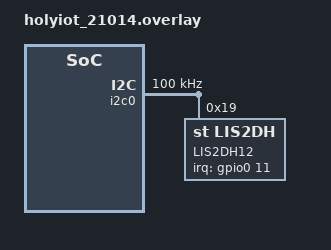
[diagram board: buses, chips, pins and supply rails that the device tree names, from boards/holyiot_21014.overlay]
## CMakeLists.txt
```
# SPDX-License-Identifier: Apache-2.0

cmake_minimum_required(VERSION 3.20.0)

find_package(Zephyr REQUIRED HINTS $ENV{ZEPHYR_BASE})
project(hopla_firmware)

target_sources(app PRIVATE
  src/main.c
  src/ble_service.c
  src/accel_sensor.c
  src/config_manager.c
  src/power_mgmt.c
)
```

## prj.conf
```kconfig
# SPDX-License-Identifier: Apache-2.0

# BLE Configuration
CONFIG_BT=y
CONFIG_BT_PERIPHERAL=y
CONFIG_BT_DEVICE_NAME="Hopla"
CONFIG_BT_DEVICE_APPEARANCE=833
CONFIG_BT_MAX_CONN=1
CONFIG_BT_MAX_PAIRED=1
CONFIG_BT_DIS=y
CONFIG_BT_DIS_MANUFACTURER="Hopla"
CONFIG_BT_DIS_MODEL="HolyIOT-21014"

# BLE GATT
CONFIG_BT_GATT_SERVICE_CHANGED=y
CONFIG_BT_GATT_CACHING=y
CONFIG_BT_GATT_ENFORCE_SUBSCRIPTION=n

# Sensor Configuration
CONFIG_I2C=y
CONFIG_SENSOR=y
CONFIG_LIS2DH=y
CONFIG_LIS2DH_TRIGGER_GLOBAL_THREAD=y
CONFIG_LIS2DH_ODR_RUNTIME=y
CONFIG_LIS2DH_FS_RUNTIME=y

# Power Management
CONFIG_PM=y
CONFIG_PM_DEVICE=y
CONFIG_PM_DEVICE_RUNTIME=y

# Logging
CONFIG_LOG=y
CONFIG_LOG_MODE_IMMEDIATE=y
CONFIG_BT_DEBUG_LOG=y

# Threading
CONFIG_MAIN_STACK_SIZE=2048
CONFIG_SYSTEM_WORKQUEUE_STACK_SIZE=2048

# DFU Support (compatible with existing bootloader)
CONFIG_BOOTLOADER_MCUBOOT=n
CONFIG_IMG_MANAGER=n
CONFIG_MCUBOOT_IMG_MANAGER=n

# Enable BLE advertising
CONFIG_BT_BROADCASTER=y
```

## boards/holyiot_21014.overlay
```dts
/*
 * Copyright (c) 2024
 * SPDX-License-Identifier: Apache-2.0
 *
 * Device tree overlay for HolyIOT-21014 (nRF52810 + LIS2DH12)
 */

&i2c0 {
	status = "okay";
	clock-frequency = <I2C_BITRATE_STANDARD>;
	
	lis2dh12: lis2dh12@19 {
		compatible = "st,lis2dh";
		reg = <0x19>;
		label = "LIS2DH12";
		irq-gpios = <&gpio0 11 GPIO_ACTIVE_HIGH>;
	};
};

&gpio0 {
	status = "okay";
};
```

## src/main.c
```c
/*
 * Copyright (c) 2024
 * SPDX-License-Identifier: Apache-2.0
 *
 * Main application entry point
 */

#include <zephyr/kernel.h>
#include <zephyr/logging/log.h>
#include "ble_service.h"
#include "accel_sensor.h"
#include "config_manager.h"
#include "power_mgmt.h"

LOG_MODULE_REGISTER(main, LOG_LEVEL_INF);

/* Sensor data processing thread */
#define SENSOR_STACK_SIZE 1024
#define SENSOR_PRIORITY 5

static K_THREAD_STACK_DEFINE(sensor_stack, SENSOR_STACK_SIZE);
static struct k_thread sensor_thread_data;

/* Motion detection trigger handler */
static void motion_trigger_handler(const struct device *dev,
				   const struct sensor_trigger *trig)
{
	LOG_INF("Motion detected!");
	power_mgmt_set_state(POWER_STATE_ACTIVE);
}

/* Sensor processing thread */
static void sensor_thread(void *arg1, void *arg2, void *arg3)
{
	struct accel_data data;
	uint32_t period_ms;
	int err;

	ARG_UNUSED(arg1);
	ARG_UNUSED(arg2);
	ARG_UNUSED(arg3);

	while (1) {
		/* Get current configuration */
		struct fm_config config;
		config_manager_get(&config);

		/* Calculate period based on notify rate */
		period_ms = 1000 / config.notify_rate_hz;
		if (period_ms < 10) {
			period_ms = 10; /* Minimum 10ms */
		}

		/* Read sensor */
		err = accel_sensor_read(&data);
		if (err) {
			LOG_ERR("Failed to read sensor (err %d)", err);
			k_sleep(K_MSEC(period_ms));
			continue;
		}

		/* Process based on stream mode */
		uint8_t stream_mode = ble_service_get_stream_mode();

		if (stream_mode == STREAM_MODE_RAW || stream_mode == STREAM_MODE_FILTERED) {
			/* TODO: Apply filtering for FILTERED mode */
			ble_service_notify_xyz(&data);
		} else if (stream_mode == STREAM_MODE_EVENTS) {
			/* TODO: Detect events (tilt, jump, etc.) */
			/* For now, send raw data */
			ble_service_notify_xyz(&data);
		}

		/* Update power state based on activity */
		enum power_state state = power_mgmt_get_state();
		if (state == POWER_STATE_CONNECTED_IDLE) {
			/* Check if motion detected */
			int16_t magnitude = (data.x * data.x + data.y * data.y + data.z * data.z) / 1000;
			if (magnitude > 100) { /* Threshold */
				power_mgmt_set_state(POWER_STATE_CONNECTED_ACTIVE);
				power_mgmt_schedule_active_timeout(config.active_timeout_ms);
			}
		}

		k_sleep(K_MSEC(period_ms));
	}
}

/* Main function */
int main(void)
{
	int err;

	LOG_INF("Hopla Firmware Starting...");

	/* Initialize components */
	err = accel_sensor_init();
	if (err) {
		LOG_ERR("Failed to initialize accelerometer (err %d)", err);
		return err;
	}

	err = config_manager_init();
	if (err) {
		LOG_ERR("Failed to initialize config manager (err %d)", err);
		return err;
	}

	err = power_mgmt_init();
	if (err) {
		LOG_ERR("Failed to initialize power management (err %d)", err);
		return err;
	}

	err = ble_service_init();
	if (err) {
		LOG_ERR("Failed to initialize BLE service (err %d)", err);
		return err;
	}

	/* Set up motion trigger */
	const struct sensor_trigger *trigger;
	err = accel_sensor_get_trigger(&trigger);
	if (!err) {
		err = accel_sensor_set_trigger_handler(motion_trigger_handler);
		if (err) {
			LOG_WRN("Failed to set motion trigger handler (err %d)", err);
		}
	}

	/* Start advertising */
	struct fm_config config;
	config_manager_get(&config);
	err = ble_service_start_advertising(config.adv_interval_idle);
	if (err) {
		LOG_ERR("Failed to start advertising (err %d)", err);
		return err;
	}

	/* Start sensor processing thread */
	k_thread_create(&sensor_thread_data, sensor_stack,
			K_THREAD_STACK_SIZEOF(sensor_stack),
			sensor_thread, NULL, NULL, NULL,
			SENSOR_PRIORITY, 0, K_NO_WAIT);
	k_thread_name_set(&sensor_thread_data, "sensor");

	LOG_INF("Hopla Firmware Ready");

	return 0;
}
```

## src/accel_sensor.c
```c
/*
 * Copyright (c) 2024
 * SPDX-License-Identifier: Apache-2.0
 *
 * Accelerometer sensor wrapper for LIS2DH12
 */

#include "accel_sensor.h"
#include <zephyr/logging/log.h>
#include <zephyr/drivers/sensor.h>
#include <zephyr/drivers/gpio.h>
#include <zephyr/devicetree.h>

LOG_MODULE_REGISTER(accel_sensor, LOG_LEVEL_DBG);

/* Device tree label */
#define LIS2DH_NODE DT_NODELABEL(lis2dh12)

/* Check if device is available */
#if !DT_NODE_EXISTS(LIS2DH_NODE)
#error "LIS2DH12 node not found in device tree"
#endif

static const struct device *accel_dev = DEVICE_DT_GET(LIS2DH_NODE);
static struct sensor_trigger motion_trigger;
static bool trigger_initialized = false;

/* ODR mapping */
static const uint16_t odr_map[] = {1, 10, 25, 50, 100, 200, 400, 1600};

/* Initialize accelerometer */
int accel_sensor_init(void)
{
	if (!device_is_ready(accel_dev)) {
		LOG_ERR("Accelerometer device not ready");
		return -ENODEV;
	}

	LOG_INF("Accelerometer initialized");
	return 0;
}

/* Read accelerometer data */
int accel_sensor_read(struct accel_data *data)
{
	struct sensor_value accel[3];
	int err;

	if (!data) {
		return -EINVAL;
	}

	err = sensor_sample_fetch(accel_dev);
	if (err) {
		LOG_ERR("Failed to fetch sample (err %d)", err);
		return err;
	}

	err = sensor_channel_get(accel_dev, SENSOR_CHAN_ACCEL_XYZ, accel);
	if (err) {
		LOG_ERR("Failed to get channel (err %d)", err);
		return err;
	}

	/* Convert to int16_t (milli-G units) */
	data->x = (int16_t)(sensor_value_to_milli(&accel[0]) / 1000);
	data->y = (int16_t)(sensor_value_to_milli(&accel[1]) / 1000);
	data->z = (int16_t)(sensor_value_to_milli(&accel[2]) / 1000);

	return 0;
}

/* Set accelerometer range */
int accel_sensor_set_range(enum accel_range range)
{
	struct sensor_value val;
	int err;

	if (range > ACCEL_RANGE_16G) {
		return -EINVAL;
	}

	val.val1 = range;
	val.val2 = 0;

	err = sensor_attr_set(accel_dev, SENSOR_CHAN_ACCEL_XYZ,
			      SENSOR_ATTR_FULL_SCALE, &val);
	if (err) {
		LOG_ERR("Failed to set range (err %d)", err);
		return err;
	}

	LOG_INF("Accelerometer range set to %d", range);
	return 0;
}

/* Set output data rate */
int accel_sensor_set_odr(uint16_t rate_hz)
{
	struct sensor_value val;
	int err;
	uint16_t odr = 0;

	/* Find closest ODR */
	for (int i = 0; i < ARRAY_SIZE(odr_map); i++) {
		if (odr_map[i] >= rate_hz) {
			odr = odr_map[i];
			break;
		}
	}

	if (odr == 0) {
		odr = odr_map[ARRAY_SIZE(odr_map) - 1];
	}

	val.val1 = odr;
	val.val2 = 0;

	err = sensor_attr_set(accel_dev, SENSOR_CHAN_ACCEL_XYZ,
			      SENSOR_ATTR_SAMPLING_FREQUENCY, &val);
	if (err) {
		LOG_ERR("Failed to set ODR (err %d)", err);
		return err;
	}

	LOG_INF("Accelerometer ODR set to %d Hz", odr);
	return 0;
}

/* Set motion threshold */
int accel_sensor_set_motion_threshold(uint8_t threshold)
{
	struct sensor_value val;
	int err;

	/* Convert threshold to sensor value (in milli-G) */
	val.val1 = threshold * 16; /* Scale factor */
	val.val2 = 0;

	err = sensor_attr_set(accel_dev, SENSOR_CHAN_ACCEL_XYZ,
			      SENSOR_ATTR_SLOPE_TH, &val);
	if (err) {
		LOG_ERR("Failed to set motion threshold (err %d)", err);
		return err;
	}

	LOG_INF("Motion threshold set to %d", threshold);
	return 0;
}

/* Enable/disable wake-on-motion */
int accel_sensor_enable_wake_on_motion(bool enable)
{
	int err;

	if (!trigger_initialized) {
		/* Initialize trigger */
		motion_trigger.type = SENSOR_TRIG_DELTA;
		motion_trigger.chan = SENSOR_CHAN_ACCEL_XYZ;
		trigger_initialized = true;
	}

	if (enable) {
		err = sensor_trigger_set(accel_dev, &motion_trigger,
					NULL); /* Handler set elsewhere */
	} else {
		err = sensor_trigger_set(accel_dev, &motion_trigger, NULL);
	}

	if (err) {
		LOG_ERR("Failed to %s wake-on-motion (err %d)",
			enable ? "enable" : "disable", err);
		return err;
	}

	LOG_INF("Wake-on-motion %s", enable ? "enabled" : "disabled");
	return 0;
}

/* Get trigger */
int accel_sensor_get_trigger(const struct sensor_trigger **trigger)
{
	if (!trigger) {
		return -EINVAL;
	}

	if (!trigger_initialized) {
		return -ENODATA;
	}

	*trigger = &motion_trigger;
	return 0;
}

/* Set trigger handler */
int accel_sensor_set_trigger_handler(sensor_trigger_handler_t handler)
{
	if (!trigger_initialized) {
		motion_trigger.type = SENSOR_TRIG_DELTA;
		motion_trigger.chan = SENSOR_CHAN_ACCEL_XYZ;
		trigger_initialized = true;
	}

	return sensor_trigger_set(accel_dev, &motion_trigger, handler);
}
```

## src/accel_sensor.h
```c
/*
 * Copyright (c) 2024
 * SPDX-License-Identifier: Apache-2.0
 *
 * Accelerometer sensor wrapper for LIS2DH12
 */

#ifndef ACCEL_SENSOR_H
#define ACCEL_SENSOR_H

#include <zephyr/types.h>
#include <zephyr/drivers/sensor.h>

/* Accelerometer data structure */
struct accel_data {
	int16_t x;
	int16_t y;
	int16_t z;
};

/* Accelerometer range */
enum accel_range {
	ACCEL_RANGE_2G = 0,
	ACCEL_RANGE_4G = 1,
	ACCEL_RANGE_8G = 2,
	ACCEL_RANGE_16G = 3,
};

/* Function prototypes */
int accel_sensor_init(void);
int accel_sensor_read(struct accel_data *data);
int accel_sensor_set_range(enum accel_range range);
int accel_sensor_set_odr(uint16_t rate_hz);
int accel_sensor_set_motion_threshold(uint8_t threshold);
int accel_sensor_enable_wake_on_motion(bool enable);
int accel_sensor_get_trigger(const struct sensor_trigger **trigger);
int accel_sensor_set_trigger_handler(sensor_trigger_handler_t handler);

#endif /* ACCEL_SENSOR_H */
```

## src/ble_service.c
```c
/*
 * Copyright (c) 2024
 * SPDX-License-Identifier: Apache-2.0
 *
 * BLE GATT Service FM_ACCEL implementation
 */

#include "ble_service.h"
#include "config_manager.h"
#include <zephyr/logging/log.h>
#include <zephyr/sys/byteorder.h>
#include <string.h>

LOG_MODULE_REGISTER(ble_service, LOG_LEVEL_DBG);

/* UUID definitions */
static struct bt_uuid_128 fm_accel_service_uuid = BT_UUID_INIT_128(
	BT_UUID_FM_ACCEL_SERVICE_VAL);

static struct bt_uuid_128 fm_accel_xyz_uuid = BT_UUID_INIT_128(
	BT_UUID_FM_ACCEL_XYZ_VAL);

static struct bt_uuid_128 fm_accel_config_uuid = BT_UUID_INIT_128(
	BT_UUID_FM_ACCEL_CONFIG_VAL);

static struct bt_uuid_128 fm_accel_stream_mode_uuid = BT_UUID_INIT_128(
	BT_UUID_FM_ACCEL_STREAM_MODE_VAL);

static struct bt_uuid_128 fm_accel_device_info_uuid = BT_UUID_INIT_128(
	BT_UUID_FM_ACCEL_DEVICE_INFO_VAL);

/* Characteristic handles */
static struct bt_gatt_attr *xyz_char_attr;
static struct bt_conn *current_conn;

/* Configuration storage */
static struct fm_config current_config = {
	.notify_rate_hz = 50,
	.active_timeout_ms = 5000,
	.accel_range = 0, /* ACCEL_RANGE_2G */
	.motion_threshold = 50,
	.adv_interval_idle = 1000,
	.adv_interval_active = 100,
	.stream_mode = STREAM_MODE_FILTERED,
	.reserved = 0,
};

static uint8_t stream_mode = STREAM_MODE_FILTERED;

/* Device info */
static const char device_info[] = "Hopla v1.0\nHolyIOT-21014\nnRF52810";

/* XYZ notification callback */
static ssize_t read_xyz(struct bt_conn *conn, const struct bt_gatt_attr *attr,
			void *buf, uint16_t len, uint16_t offset)
{
	/* Read not supported, use notifications */
	return BT_GATT_ERR(BT_ATT_ERR_READ_NOT_PERMITTED);
}

/* Config read callback */
static ssize_t read_config(struct bt_conn *conn, const struct bt_gatt_attr *attr,
			   void *buf, uint16_t len, uint16_t offset)
{
	return bt_gatt_attr_read(conn, attr, buf, len, offset,
				 &current_config, sizeof(current_config));
}

/* Config write callback */
static ssize_t write_config(struct bt_conn *conn, const struct bt_gatt_attr *attr,
			    const void *buf, uint16_t len, uint16_t offset,
			    uint8_t flags)
{
	if (offset + len > sizeof(current_config)) {
		return BT_GATT_ERR(BT_ATT_ERR_INVALID_OFFSET);
	}

	memcpy((uint8_t *)&current_config + offset, buf, len);

	if (offset + len == sizeof(current_config)) {
		LOG_INF("Config updated: rate=%d Hz, range=%d, mode=%d",
			current_config.notify_rate_hz,
			current_config.accel_range,
			current_config.stream_mode);
		/* Notify config manager to apply changes */
		config_manager_set(&current_config);
		config_manager_apply();
	}

	return len;
}

/* Stream mode read callback */
static ssize_t read_stream_mode(struct bt_conn *conn,
				const struct bt_gatt_attr *attr,
				void *buf, uint16_t len, uint16_t offset)
{
	return bt_gatt_attr_read(conn, attr, buf, len, offset,
				 &stream_mode, sizeof(stream_mode));
}

/* Stream mode write callback */
static ssize_t write_stream_mode(struct bt_conn *conn,
				 const struct bt_gatt_attr *attr,
				 const void *buf, uint16_t len, uint16_t offset,
				 uint8_t flags)
{
	if (offset + len > sizeof(stream_mode)) {
		return BT_GATT_ERR(BT_ATT_ERR_INVALID_OFFSET);
	}

	memcpy((uint8_t *)&stream_mode + offset, buf, len);

	if (offset + len == sizeof(stream_mode)) {
		LOG_INF("Stream mode updated: %d", stream_mode);
	}

	return len;
}

/* Device info read callback */
static ssize_t read_device_info(struct bt_conn *conn,
				const struct bt_gatt_attr *attr,
				void *buf, uint16_t len, uint16_t offset)
{
	return bt_gatt_attr_read(conn, attr, buf, len, offset,
				 device_info, strlen(device_info));
}

/* CCC changed callback */
static void xyz_ccc_cfg_changed(const struct bt_gatt_attr *attr, uint16_t value)
{
	bool notify_enabled = (value == BT_GATT_CCC_NOTIFY);

	LOG_INF("XYZ notifications %s", notify_enabled ? "enabled" : "disabled");
}

/* GATT service definition */
BT_GATT_SERVICE_DEFINE(fm_accel_service,
	BT_GATT_PRIMARY_SERVICE(&fm_accel_service_uuid),

	/* XYZ Data Characteristic (notify) */
	BT_GATT_CHARACTERISTIC(&fm_accel_xyz_uuid.uuid,
			       BT_GATT_CHRC_NOTIFY,
			       BT_GATT_PERM_NONE,
			       read_xyz, NULL, NULL),
	BT_GATT_CCC(xyz_ccc_cfg_changed,
		    BT_GATT_PERM_READ | BT_GATT_PERM_WRITE),

	/* Config Characteristic (read/write) */
	BT_GATT_CHARACTERISTIC(&fm_accel_config_uuid.uuid,
			       BT_GATT_CHRC_READ | BT_GATT_CHRC_WRITE,
			       BT_GATT_PERM_READ | BT_GATT_PERM_WRITE,
			       read_config, write_config, NULL),

	/* Stream Mode Characteristic (read/write) */
	BT_GATT_CHARACTERISTIC(&fm_accel_stream_mode_uuid.uuid,
			       BT_GATT_CHRC_READ | BT_GATT_CHRC_WRITE,
			       BT_GATT_PERM_READ | BT_GATT_PERM_WRITE,
			       read_stream_mode, write_stream_mode, NULL),

	/* Device Info Characteristic (read) */
	BT_GATT_CHARACTERISTIC(&fm_accel_device_info_uuid.uuid,
			       BT_GATT_CHRC_READ,
			       BT_GATT_PERM_READ,
			       read_device_info, NULL, NULL),
);

/* Connection callback */
static void connected(struct bt_conn *conn, uint8_t err)
{
	if (err) {
		LOG_ERR("Connection failed (err 0x%02x)", err);
		return;
	}

	LOG_INF("Connected");
	current_conn = bt_conn_ref(conn);
	power_mgmt_set_state(POWER_STATE_CONNECTED_IDLE);
}

static void disconnected(struct bt_conn *conn, uint8_t reason)
{
	LOG_INF("Disconnected (reason 0x%02x)", reason);

	if (current_conn) {
		bt_conn_unref(current_conn);
		current_conn = NULL;
	}

	power_mgmt_set_state(POWER_STATE_IDLE);
}

BT_CONN_CB_DEFINE(conn_callbacks) = {
	.connected = connected,
	.disconnected = disconnected,
};

/* Initialize BLE service */
int ble_service_init(void)
{
	int err;

	err = bt_enable(NULL);
	if (err) {
		LOG_ERR("Bluetooth init failed (err %d)", err);
		return err;
	}

	LOG_INF("Bluetooth initialized");
	return 0;
}

/* Start advertising */
int ble_service_start_advertising(uint16_t interval_ms)
{
	int err;
	struct bt_le_adv_param adv_param = {
		.id = BT_ID_DEFAULT,
		.sid = 0,
		.secondary_max_skip = 0,
		.options = BT_LE_ADV_OPT_CONNECTABLE | BT_LE_ADV_OPT_USE_NAME,
		.interval_min = BT_GAP_ADV_FAST_INT_MIN_2,
		.interval_max = BT_GAP_ADV_FAST_INT_MAX_2,
	};

	/* Convert ms to 0.625ms units */
	adv_param.interval_min = BT_GAP_ADV_INTERVAL_MIN(interval_ms);
	adv_param.interval_max = BT_GAP_ADV_INTERVAL_MAX(interval_ms);

	err = bt_le_adv_start(&adv_param, NULL, 0, NULL, 0);
	if (err) {
		LOG_ERR("Advertising failed to start (err %d)", err);
		return err;
	}

	LOG_INF("Advertising started (interval %d ms)", interval_ms);
	return 0;
}

/* Stop advertising */
int ble_service_stop_advertising(void)
{
	return bt_le_adv_stop();
}

/* Notify XYZ data */
int ble_service_notify_xyz(const struct accel_data *data)
{
	if (!current_conn) {
		return -ENOTCONN;
	}

	struct accel_data data_le = {
		.x = sys_cpu_to_le16(data->x),
		.y = sys_cpu_to_le16(data->y),
		.z = sys_cpu_to_le16(data->z),
	};

	return bt_gatt_notify(current_conn,
			      &fm_accel_service.attrs[1],
			      &data_le, sizeof(data_le));
}

/* Get configuration */
int ble_service_get_config(struct fm_config *config)
{
	if (!config) {
		return -EINVAL;
	}

	memcpy(config, &current_config, sizeof(current_config));
	return 0;
}

/* Set configuration */
int ble_service_set_config(const struct fm_config *config)
{
	if (!config) {
		return -EINVAL;
	}

	memcpy(&current_config, config, sizeof(current_config));
	return 0;
}

/* Get stream mode */
uint8_t ble_service_get_stream_mode(void)
{
	return stream_mode;
}

/* Set stream mode */
int ble_service_set_stream_mode(uint8_t mode)
{
	if (mode > STREAM_MODE_EVENTS) {
		return -EINVAL;
	}

	stream_mode = mode;
	return 0;
}
```

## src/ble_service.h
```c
/*
 * Copyright (c) 2024
 * SPDX-License-Identifier: Apache-2.0
 *
 * BLE GATT Service FM_ACCEL definitions
 */

#ifndef BLE_SERVICE_H
#define BLE_SERVICE_H

#include <zephyr/types.h>
#include <zephyr/bluetooth/bluetooth.h>
#include <zephyr/bluetooth/gatt.h>
#include <zephyr/bluetooth/uuid.h>

/* FM_ACCEL Service UUID */
#define BT_UUID_FM_ACCEL_SERVICE_VAL \
	BT_UUID_128_ENCODE(0xFACC0001, 0x0000, 0x1000, 0x8000, 0x00805f9b34fb)

/* Characteristic UUIDs */
#define BT_UUID_FM_ACCEL_XYZ_VAL \
	BT_UUID_128_ENCODE(0xFAC10001, 0x0000, 0x1000, 0x8000, 0x00805f9b34fb)

#define BT_UUID_FM_ACCEL_CONFIG_VAL \
	BT_UUID_128_ENCODE(0xFAC20001, 0x0000, 0x1000, 0x8000, 0x00805f9b34fb)

#define BT_UUID_FM_ACCEL_STREAM_MODE_VAL \
	BT_UUID_128_ENCODE(0xFAC30001, 0x0000, 0x1000, 0x8000, 0x00805f9b34fb)

#define BT_UUID_FM_ACCEL_DEVICE_INFO_VAL \
	BT_UUID_128_ENCODE(0xFAC40001, 0x0000, 0x1000, 0x8000, 0x00805f9b34fb)

/* UUID declarations */
extern struct bt_uuid_128 fm_accel_service_uuid;
extern struct bt_uuid_128 fm_accel_xyz_uuid;
extern struct bt_uuid_128 fm_accel_config_uuid;
extern struct bt_uuid_128 fm_accel_stream_mode_uuid;
extern struct bt_uuid_128 fm_accel_device_info_uuid;

/* Configuration structure (12 bytes) */
struct fm_config {
	uint16_t notify_rate_hz;      /* 1-100 Hz */
	uint16_t active_timeout_ms;   /* Timeout to idle state */
	uint8_t  accel_range;         /* 0=2G, 1=4G, 2=8G, 3=16G */
	uint8_t  motion_threshold;    /* 0-255 for wake-on-motion */
	uint16_t adv_interval_idle;   /* ms (1000-2000) */
	uint16_t adv_interval_active; /* ms (20-100) */
	uint8_t  stream_mode;         /* 0=RAW, 1=FILTERED, 2=EVENTS */
	uint8_t  reserved;
} __packed;

/* Stream modes */
#define STREAM_MODE_RAW      0
#define STREAM_MODE_FILTERED 1
#define STREAM_MODE_EVENTS   2

/* Accelerometer data structure */
struct accel_data {
	int16_t x;
	int16_t y;
	int16_t z;
} __packed;

/* Function prototypes */
int ble_service_init(void);
int ble_service_start_advertising(uint16_t interval_ms);
int ble_service_stop_advertising(void);
int ble_service_notify_xyz(const struct accel_data *data);
int ble_service_get_config(struct fm_config *config);
int ble_service_set_config(const struct fm_config *config);
uint8_t ble_service_get_stream_mode(void);
int ble_service_set_stream_mode(uint8_t mode);

#endif /* BLE_SERVICE_H */
```

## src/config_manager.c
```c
/*
 * Copyright (c) 2024
 * SPDX-License-Identifier: Apache-2.0
 *
 * Runtime configuration manager
 */

#include "config_manager.h"
#include "accel_sensor.h"
#include "power_mgmt.h"
#include "ble_service.h"
#include <zephyr/logging/log.h>
#include <string.h>

LOG_MODULE_REGISTER(config_manager, LOG_LEVEL_DBG);

static struct fm_config current_config;

/* Initialize config manager */
int config_manager_init(void)
{
	/* Set default configuration */
	current_config.notify_rate_hz = 50;
	current_config.active_timeout_ms = 5000;
	current_config.accel_range = 0; /* ACCEL_RANGE_2G */
	current_config.motion_threshold = 50;
	current_config.adv_interval_idle = 1000;
	current_config.adv_interval_active = 100;
	current_config.stream_mode = STREAM_MODE_FILTERED;
	current_config.reserved = 0;

	/* Apply initial configuration */
	config_manager_apply();

	LOG_INF("Config manager initialized");
	return 0;
}

/* Get current configuration */
int config_manager_get(struct fm_config *config)
{
	if (!config) {
		return -EINVAL;
	}

	memcpy(config, &current_config, sizeof(current_config));
	return 0;
}

/* Set configuration */
int config_manager_set(const struct fm_config *config)
{
	if (!config) {
		return -EINVAL;
	}

	/* Validate ranges */
	if (config->notify_rate_hz < 1 || config->notify_rate_hz > 100) {
		LOG_ERR("Invalid notify_rate_hz: %d", config->notify_rate_hz);
		return -EINVAL;
	}

	if (config->accel_range > 3) { /* ACCEL_RANGE_16G */
		LOG_ERR("Invalid accel_range: %d", config->accel_range);
		return -EINVAL;
	}

	if (config->stream_mode > STREAM_MODE_EVENTS) {
		LOG_ERR("Invalid stream_mode: %d", config->stream_mode);
		return -EINVAL;
	}

	memcpy(&current_config, config, sizeof(current_config));
	return 0;
}

/* Apply configuration to hardware */
void config_manager_apply(void)
{
	/* Apply accelerometer settings */
	accel_sensor_set_range((enum accel_range)current_config.accel_range);
	accel_sensor_set_odr(current_config.notify_rate_hz);
	accel_sensor_set_motion_threshold(current_config.motion_threshold);

	/* Apply stream mode */
	ble_service_set_stream_mode(current_config.stream_mode);

	/* Update advertising intervals */
	power_mgmt_update_advertising(current_config.adv_interval_idle);

	LOG_INF("Configuration applied");
}
```

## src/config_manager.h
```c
/*
 * Copyright (c) 2024
 * SPDX-License-Identifier: Apache-2.0
 *
 * Runtime configuration manager
 */

#ifndef CONFIG_MANAGER_H
#define CONFIG_MANAGER_H

#include "ble_service.h"

/* Function prototypes */
int config_manager_init(void);
int config_manager_get(struct fm_config *config);
int config_manager_set(const struct fm_config *config);
void config_manager_apply(void);

#endif /* CONFIG_MANAGER_H */
```

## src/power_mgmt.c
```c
/*
 * Copyright (c) 2024
 * SPDX-License-Identifier: Apache-2.0
 *
 * Power management profiles
 */

#include "power_mgmt.h"
#include "ble_service.h"
#include "accel_sensor.h"
#include <zephyr/logging/log.h>
#include <zephyr/kernel.h>

LOG_MODULE_REGISTER(power_mgmt, LOG_LEVEL_DBG);

static enum power_state current_state = POWER_STATE_IDLE;
static uint16_t adv_interval = 1000;
static struct k_work_delayable active_timeout_work;

/* Active timeout handler */
static void active_timeout_handler(struct k_work *work)
{
	LOG_INF("Active timeout - switching to idle");
	power_mgmt_set_state(POWER_STATE_IDLE);
}

/* Initialize power management */
int power_mgmt_init(void)
{
	k_work_init_delayable(&active_timeout_work, active_timeout_handler);

	LOG_INF("Power management initialized");
	return 0;
}

/* Set power state */
int power_mgmt_set_state(enum power_state state)
{
	current_state = state;

	switch (state) {
	case POWER_STATE_IDLE:
		LOG_INF("State: IDLE");
		ble_service_stop_advertising();
		ble_service_start_advertising(adv_interval);
		accel_sensor_enable_wake_on_motion(true);
		break;

	case POWER_STATE_ACTIVE:
		LOG_INF("State: ACTIVE");
		ble_service_stop_advertising();
		ble_service_start_advertising(100); /* Fast advertising */
		accel_sensor_enable_wake_on_motion(false);
		break;

	case POWER_STATE_CONNECTED_IDLE:
		LOG_INF("State: CONNECTED_IDLE");
		ble_service_stop_advertising();
		accel_sensor_enable_wake_on_motion(true);
		break;

	case POWER_STATE_CONNECTED_ACTIVE:
		LOG_INF("State: CONNECTED_ACTIVE");
		ble_service_stop_advertising();
		accel_sensor_enable_wake_on_motion(false);
		break;

	default:
		return -EINVAL;
	}

	return 0;
}

/* Get current power state */
enum power_state power_mgmt_get_state(void)
{
	return current_state;
}

/* Update advertising interval */
void power_mgmt_update_advertising(uint16_t interval_ms)
{
	adv_interval = interval_ms;

	if (current_state == POWER_STATE_IDLE) {
		ble_service_stop_advertising();
		ble_service_start_advertising(adv_interval);
	}
}

/* Schedule active timeout */
void power_mgmt_schedule_active_timeout(uint16_t timeout_ms)
{
	k_work_cancel_delayable(&active_timeout_work);
	k_work_schedule(&active_timeout_work, K_MSEC(timeout_ms));
}
```

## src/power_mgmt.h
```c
/*
 * Copyright (c) 2024
 * SPDX-License-Identifier: Apache-2.0
 *
 * Power management profiles
 */

#ifndef POWER_MGMT_H
#define POWER_MGMT_H

#include <zephyr/types.h>

/* Power states */
enum power_state {
	POWER_STATE_IDLE,
	POWER_STATE_ACTIVE,
	POWER_STATE_CONNECTED_IDLE,
	POWER_STATE_CONNECTED_ACTIVE,
};

/* Function prototypes */
int power_mgmt_init(void);
int power_mgmt_set_state(enum power_state state);
enum power_state power_mgmt_get_state(void);
void power_mgmt_update_advertising(uint16_t interval_ms);
void power_mgmt_schedule_active_timeout(uint16_t timeout_ms);

#endif /* POWER_MGMT_H */
```
